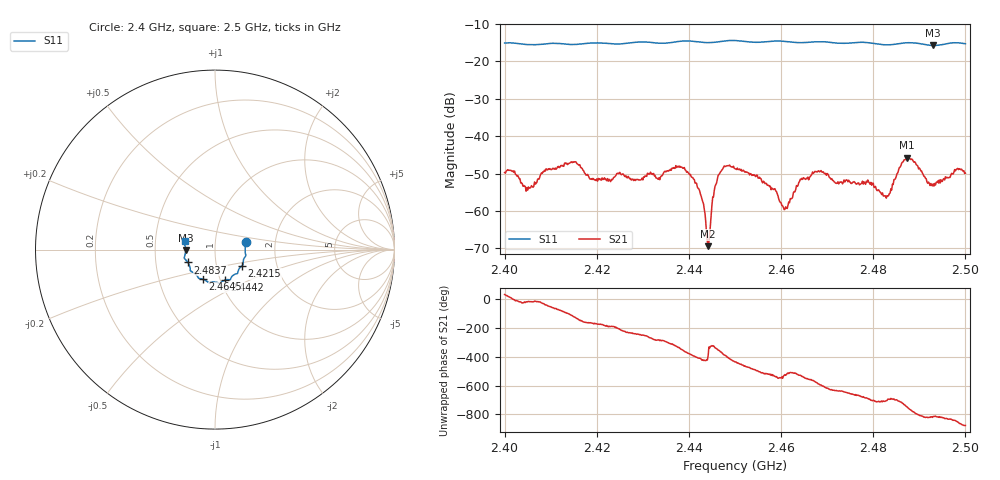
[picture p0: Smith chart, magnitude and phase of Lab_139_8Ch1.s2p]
# Hz S RI R 50
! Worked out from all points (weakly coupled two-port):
!   601 points, 2.4 GHz to 2.5 GHz, reference 50 ohm
!   highest |S21| = -45.76 dB at 2.4873 GHz (marker M1); lowest = -69.4 dB at 2.4442 GHz (marker M2)
!   lowest |S11| = -15.7 dB at 2.493 GHz (marker M3), VSWR 1.39, Z = 35.9 - j0.213 ohm
!   |S11| at or under -10 dB: start of sweep to end of sweep
!   S12 and S22 are empty: the file has one direction only
!   S11 on the Smith chart (normalised r, x): 2.4 GHz: 1.41, +0.12; 2.4215 GHz: 1.33, -0.25; 2.4442 GHz: 1.05, -0.37; 2.4645 GHz: 0.83, -0.29; 2.4837 GHz: 0.73, -0.11; 2.5 GHz: 0.71, +0.07
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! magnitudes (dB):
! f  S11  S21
! 2.4 GHz  -15.1  -49.7
! 2.4052 GHz  -15.5  -53.6
! 2.4092 GHz  -15.3  -49.0
! 2.4167 GHz  -15.3  -48.5
! 2.4215 GHz  -15.1  -51.5
! 2.4333 GHz  -15.1  -51.5
! 2.4377 GHz  -14.7  -48.0
! 2.4403 GHz  -14.5  -50.2
! 2.4427 GHz  -14.8  -56.1
! 2.4442 GHz  -15.0  -69.4
! 2.4455 GHz  -14.9  -54.6
! 2.4465 GHz  -14.7  -50.3
! 2.45 GHz  -14.4  -48.7
! 2.4585 GHz  -14.5  -54.1
! 2.4608 GHz  -14.6  -59.6
! 2.4645 GHz  -15.0  -51.3
! 2.4667 GHz  -14.8  -50.2
! 2.4833 GHz  -15.6  -55.9
! 2.4837 GHz  -15.5  -55.2
! 2.4873 GHz  -15.0  -45.8
! 2.493 GHz  -15.7  -52.8
! 2.5 GHz  -15.3  -49.9
